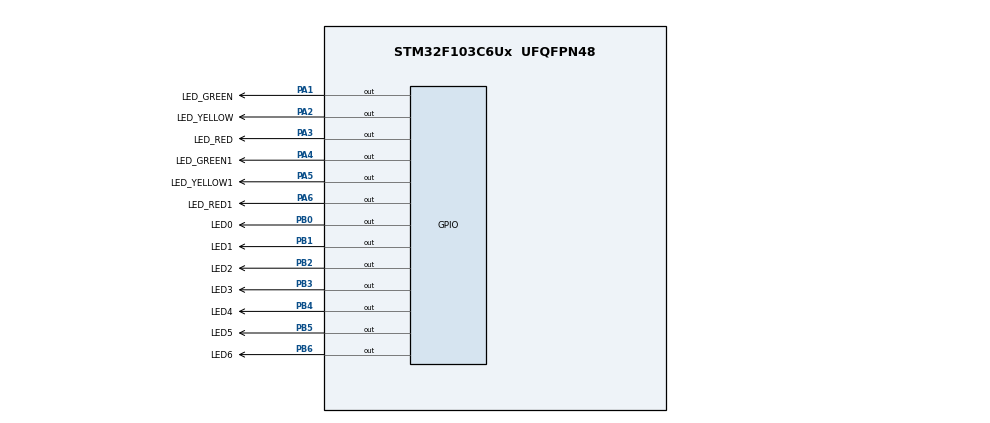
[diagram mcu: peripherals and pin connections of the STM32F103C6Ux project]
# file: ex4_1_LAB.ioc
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Mcu.Family=STM32F1
Mcu.Name=STM32F103C6Ux
Mcu.Package=UFQFPN48
NVIC.PriorityGroup=NVIC_PRIORITYGROUP_4
PA1.GPIO_Label=LED_GREEN
PA1.Signal=GPIO_Output
PA2.GPIO_Label=LED_YELLOW
PA2.Signal=GPIO_Output
PA3.GPIO_Label=LED_RED
PA3.Signal=GPIO_Output
PA4.GPIO_Label=LED_GREEN1
PA4.Signal=GPIO_Output
PA5.GPIO_Label=LED_YELLOW1
PA5.Signal=GPIO_Output
PA6.GPIO_Label=LED_RED1
PA6.Signal=GPIO_Output
PB0.GPIO_Label=LED0
PB0.Signal=GPIO_Output
PB1.GPIO_Label=LED1
PB1.Signal=GPIO_Output
PB2.GPIO_Label=LED2
PB2.Signal=GPIO_Output
PB3.GPIO_Label=LED3
PB3.Signal=GPIO_Output
PB4.GPIO_Label=LED4
PB4.Signal=GPIO_Output
PB5.GPIO_Label=LED5
PB5.Signal=GPIO_Output
PB6.GPIO_Label=LED6
PB6.Signal=GPIO_Output
ProjectManager.HeapSize=0x200
ProjectManager.StackSize=0x400
ProjectManager.TargetToolchain=STM32CubeIDE
RCC.APB1Freq_Value=8000000
RCC.APB2Freq_Value=8000000
VP_SYS_VS_ND.Mode=No_Debug
board=custom

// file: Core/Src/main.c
/* USER CODE BEGIN Header */
/**
  ******************************************************************************
  * @file           : main.c
  * @brief          : Main program body
  ******************************************************************************
  * @attention
  *
  * <h2><center>&copy; Copyright (c) 2022 STMicroelectronics.
  * All rights reserved.</center></h2>
  *
  * This software component is licensed by ST under BSD 3-Clause license,
  * the "License"; You may not use this file except in compliance with the
  * License. You may obtain a copy of the License at:
  *                        opensource.org/licenses/BSD-3-Clause
  *
  ******************************************************************************
  */
/* USER CODE END Header */
#include "main.h"

void SystemClock_Config(void);
static void MX_GPIO_Init(void);

/* USER CODE BEGIN 0 */
void display7SEG(int num){
   switch(num){
	case 0:
		HAL_GPIO_WritePin(GPIOB, LED0_Pin | LED1_Pin | LED2_Pin | LED3_Pin | LED4_Pin | LED5_Pin, RESET);
		HAL_GPIO_WritePin(GPIOB,  LED6_Pin, SET);
		break;

	case 1:
		HAL_GPIO_WritePin(GPIOB,  LED1_Pin | LED2_Pin, RESET);
		HAL_GPIO_WritePin(GPIOB, LED0_Pin | LED3_Pin | LED4_Pin | LED5_Pin | LED6_Pin , SET);
		break;
	case 2:
		HAL_GPIO_WritePin(GPIOB, LED0_Pin | LED1_Pin |  LED3_Pin | LED4_Pin |  LED6_Pin, RESET);
		HAL_GPIO_WritePin(GPIOB, LED2_Pin | LED5_Pin, SET);
		break;
	case 3:
		HAL_GPIO_WritePin(GPIOB, LED0_Pin |LED1_Pin | LED2_Pin | LED3_Pin | LED6_Pin, RESET);
		HAL_GPIO_WritePin(GPIOB, LED4_Pin | LED5_Pin, SET);
		break;
	case 4:
		HAL_GPIO_WritePin(GPIOB, LED1_Pin | LED2_Pin |  LED5_Pin | LED6_Pin , RESET);
		HAL_GPIO_WritePin(GPIOB, LED0_Pin | LED3_Pin | LED4_Pin, SET);
		break;
	case 5:
		HAL_GPIO_WritePin(GPIOB, LED0_Pin | LED2_Pin | LED3_Pin |  LED5_Pin | LED6_Pin , RESET);
		HAL_GPIO_WritePin(GPIOB, LED1_Pin | LED4_Pin, SET);
		break;
	case 6:
		HAL_GPIO_WritePin(GPIOB, LED0_Pin |  LED2_Pin | LED3_Pin | LED4_Pin | LED5_Pin | LED6_Pin , RESET);
		HAL_GPIO_WritePin(GPIOB, LED1_Pin, SET);
		break;
	case 7:
		HAL_GPIO_WritePin(GPIOB, LED0_Pin | LED1_Pin | LED2_Pin, RESET);
		HAL_GPIO_WritePin(GPIOB, LED3_Pin | LED4_Pin | LED5_Pin | LED6_Pin , SET);
		break;
	case 8:
		HAL_GPIO_WritePin(GPIOB, LED0_Pin | LED1_Pin | LED2_Pin | LED3_Pin | LED4_Pin | LED5_Pin | LED6_Pin , RESET);
		break;
	case 9:
		HAL_GPIO_WritePin(GPIOB, LED0_Pin | LED1_Pin | LED2_Pin | LED3_Pin | LED5_Pin | LED6_Pin , RESET);
		HAL_GPIO_WritePin(GPIOB, LED4_Pin, SET);
		break;
   }
}

/* USER CODE END 0 */

/*
int dec_to_7seg(int num){
	switch(num){
	case 0: return 0x3f;
	case 1: return 0x06;
	case 2: return 0x5b;
	case 3: return 0x4f;
	case 4: return 0x66;
	case 5: return 0x6d;
	case 6: return 0x7D;
	case 7: return 0x07;
	case 8: return 0x7F;
	case 9: return 0x6f;
	default : return 0x00;
	}
}

void display7SEG(int num){
	int bit_var;
	bit_var = dec_to_7seg(num);
	HAL_GPIO_WritePin(LED0_GPIO_Port, LED0_Pin, !(bit_var & 0x01));
	HAL_GPIO_WritePin(LED1_GPIO_Port, LED1_Pin, !((bit_var>>1)&0x01));
	HAL_GPIO_WritePin(LED2_GPIO_Port, LED2_Pin, !((bit_var>>2)&0x01));
	HAL_GPIO_WritePin(LED3_GPIO_Port, LED3_Pin, !((bit_var>>3)&0x01));
	HAL_GPIO_WritePin(LED4_GPIO_Port, LED4_Pin, !((bit_var>>4)&0x01));
	HAL_GPIO_WritePin(LED5_GPIO_Port, LED5_Pin, !((bit_var>>5)&0x01));
	HAL_GPIO_WritePin(LED6_GPIO_Port, LED6_Pin, !((bit_var>>6)&0x01));
}
*/
int main(void)
{

  /* MCU Configuration--------------------------------------------------------*/

  /* Reset of all peripherals, Initializes the Flash interface and the Systick. */
  HAL_Init();

  /* Configure the system clock */
  SystemClock_Config();

  /* Initialize all configured peripherals */
  MX_GPIO_Init();

  /* Infinite loop */
  /* USER CODE BEGIN WHILE */
  int counter = 0;
  while (1)
  {
    /* USER CODE END WHILE */
	  if(counter >=10) counter = 0;
	  display7SEG(counter++) ;
	  HAL_Delay(1000);
  }
}

void SystemClock_Config(void)
{
  RCC_OscInitTypeDef RCC_OscInitStruct = {0};
  RCC_ClkInitTypeDef RCC_ClkInitStruct = {0};

  /** Initializes the RCC Oscillators according to the specified parameters
  * in the RCC_OscInitTypeDef structure.
  */
  RCC_OscInitStruct.OscillatorType = RCC_OSCILLATORTYPE_HSI;
  RCC_OscInitStruct.HSIState = RCC_HSI_ON;
  RCC_OscInitStruct.HSICalibrationValue = RCC_HSICALIBRATION_DEFAULT;
  RCC_OscInitStruct.PLL.PLLState = RCC_PLL_NONE;
  if (HAL_RCC_OscConfig(&RCC_OscInitStruct) != HAL_OK)
  {
    Error_Handler();
  }
  /** Initializes the CPU, AHB and APB buses clocks
  */
  RCC_ClkInitStruct.ClockType = RCC_CLOCKTYPE_HCLK|RCC_CLOCKTYPE_SYSCLK
                              |RCC_CLOCKTYPE_PCLK1|RCC_CLOCKTYPE_PCLK2;
  RCC_ClkInitStruct.SYSCLKSource = RCC_SYSCLKSOURCE_HSI;
  RCC_ClkInitStruct.AHBCLKDivider = RCC_SYSCLK_DIV1;
  RCC_ClkInitStruct.APB1CLKDivider = RCC_HCLK_DIV1;
  RCC_ClkInitStruct.APB2CLKDivider = RCC_HCLK_DIV1;

  if (HAL_RCC_ClockConfig(&RCC_ClkInitStruct, FLASH_LATENCY_0) != HAL_OK)
  {
    Error_Handler();
  }
}

static void MX_GPIO_Init(void)
{
  GPIO_InitTypeDef GPIO_InitStruct = {0};

  /* GPIO Ports Clock Enable */
  __HAL_RCC_GPIOA_CLK_ENABLE();
  __HAL_RCC_GPIOB_CLK_ENABLE();

  /*Configure GPIO pin Output Level */
  HAL_GPIO_WritePin(GPIOA, LED_GREEN_Pin|LED_YELLOW_Pin|LED_RED_Pin|LED_GREEN1_Pin
                          |LED_YELLOW1_Pin|LED_RED1_Pin, GPIO_PIN_RESET);

  /*Configure GPIO pin Output Level */
  HAL_GPIO_WritePin(GPIOB, LED0_Pin|LED1_Pin|LED2_Pin|LED3_Pin
                          |LED4_Pin|LED5_Pin|LED6_Pin, GPIO_PIN_RESET);

  /*Configure GPIO pins : LED_GREEN_Pin LED_YELLOW_Pin LED_RED_Pin LED_GREEN1_Pin
                           LED_YELLOW1_Pin LED_RED1_Pin */
  GPIO_InitStruct.Pin = LED_GREEN_Pin|LED_YELLOW_Pin|LED_RED_Pin|LED_GREEN1_Pin
                          |LED_YELLOW1_Pin|LED_RED1_Pin;
  GPIO_InitStruct.Mode = GPIO_MODE_OUTPUT_PP;
  GPIO_InitStruct.Pull = GPIO_NOPULL;
  GPIO_InitStruct.Speed = GPIO_SPEED_FREQ_LOW;
  HAL_GPIO_Init(GPIOA, &GPIO_InitStruct);

  /*Configure GPIO pins : LED0_Pin LED1_Pin LED2_Pin LED3_Pin
                           LED4_Pin LED5_Pin LED6_Pin */
  GPIO_InitStruct.Pin = LED0_Pin|LED1_Pin|LED2_Pin|LED3_Pin
                          |LED4_Pin|LED5_Pin|LED6_Pin;
  GPIO_InitStruct.Mode = GPIO_MODE_OUTPUT_PP;
  GPIO_InitStruct.Pull = GPIO_NOPULL;
  GPIO_InitStruct.Speed = GPIO_SPEED_FREQ_LOW;
  HAL_GPIO_Init(GPIOB, &GPIO_InitStruct);

}

void Error_Handler(void)
{
  __disable_irq();
  while (1)
  {
  }
}

/************************ (C) COPYRIGHT STMicroelectronics *****END OF FILE****/
